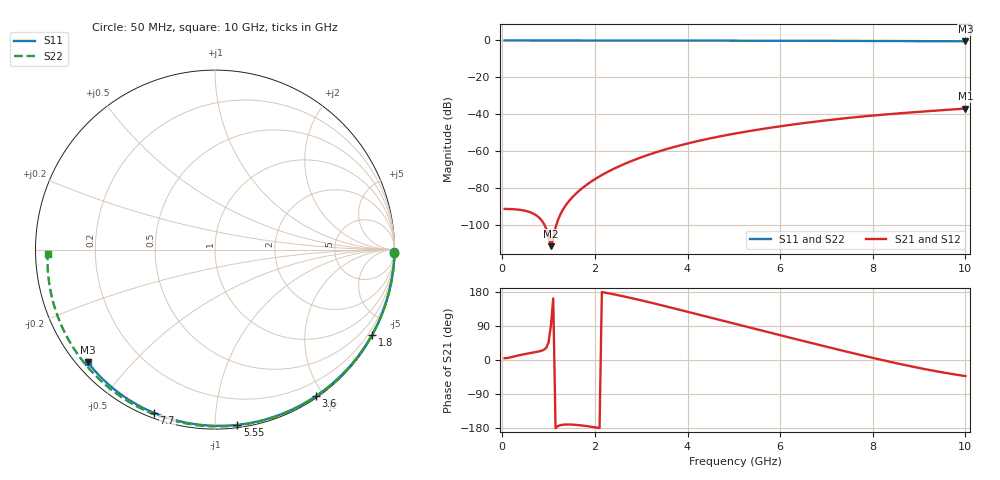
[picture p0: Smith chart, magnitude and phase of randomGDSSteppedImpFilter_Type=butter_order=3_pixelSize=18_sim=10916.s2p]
! freq	dB(S11)	phase(S11)	dB(S12)	phase(S12)
!  dB(S21)	phase(S21)	dB(S22)	phase(S22)
!S-par simulation data
#  GHz  S  DB  R 50
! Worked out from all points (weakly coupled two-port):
!   200 points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, 50 MHz to 10 GHz, reference 50 ohm
!   highest |S21| = -36.95 dB at 10 GHz (marker M1); lowest = -111.6 dB at 1.05 GHz (marker M2)
!   lowest |S11| = -0.5 dB at 10 GHz (marker M3), VSWR 36.59, Z = 1.56 - j19 ohm
!   |S11| at or under -10 dB: nowhere
!   |S22| runs from -0.6 to 0.0 dB; largest |S21 - S12| = 0
!   S11 on the Smith chart (normalised r, x): 50 MHz: open; 1.8 GHz: 0.03, -3.95; 3.6 GHz: 0.02, -1.90; 5.55 GHz: 0.02, -1.14; 7.7 GHz: 0.02, -0.69; 10 GHz: 0.03, -0.38
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0.05  -0.00 -0.8  -91.41 4.8  -91.41 4.8  -0.00 -1.0
0.55  -0.01 -8.8  -92.78 17.1  -92.78 17.1  -0.01 -11.2
1.05  -0.02 -16.7  -111.62 90.9  -111.62 90.9  -0.03 -21.3
1.7  -0.03 -26.8  -80.67 -172.5  -80.67 -172.5  -0.04 -34.2
1.75  -0.04 -27.6  -79.66 -173.2  -79.66 -173.2  -0.04 -35.2
1.8  -0.04 -28.4  -78.70 -174.0  -78.70 -174.0  -0.05 -36.2
1.95  -0.04 -30.7  -76.07 -176.6  -76.07 -176.6  -0.05 -39.1
2.1  -0.04 -33.0  -73.74 -179.6  -73.74 -179.6  -0.05 -42.1
2.3  -0.05 -36.1  -70.99 175.9  -70.99 175.9  -0.06 -45.9
2.5  -0.05 -39.1  -68.54 171.0  -68.54 171.0  -0.06 -49.8
2.9  -0.06 -45.1  -64.34 160.3  -64.34 160.3  -0.07 -57.3
3.4  -0.07 -52.5  -60.05 145.6  -60.05 145.6  -0.09 -66.6
3.6  -0.07 -55.5  -58.56 139.6  -58.56 139.6  -0.09 -70.3
4.3  -0.09 -65.5  -54.14 117.8  -54.14 117.8  -0.12 -82.8
5.05  -0.12 -76.0  -50.39 94.5  -50.39 94.5  -0.15 -95.8
5.55  -0.14 -82.7  -48.28 79.1  -48.28 79.1  -0.17 -104.2
6.1  -0.16 -90.0  -46.22 62.3  -46.22 62.3  -0.20 -113.3
6.7  -0.19 -97.8  -44.23 44.1  -44.23 44.1  -0.24 -123.1
7.7  -0.25 -110.5  -41.46 14.2  -41.46 14.2  -0.32 -139.3
8.35  -0.30 -118.5  -39.99 -4.2  -39.99 -4.2  -0.38 -149.9
9.2  -0.38 -128.8  -38.36 -25.8  -38.36 -25.8  -0.48 -164.2
10  -0.47 -138.4  -36.95 -42.4  -36.95 -42.4  -0.60 -178.3
